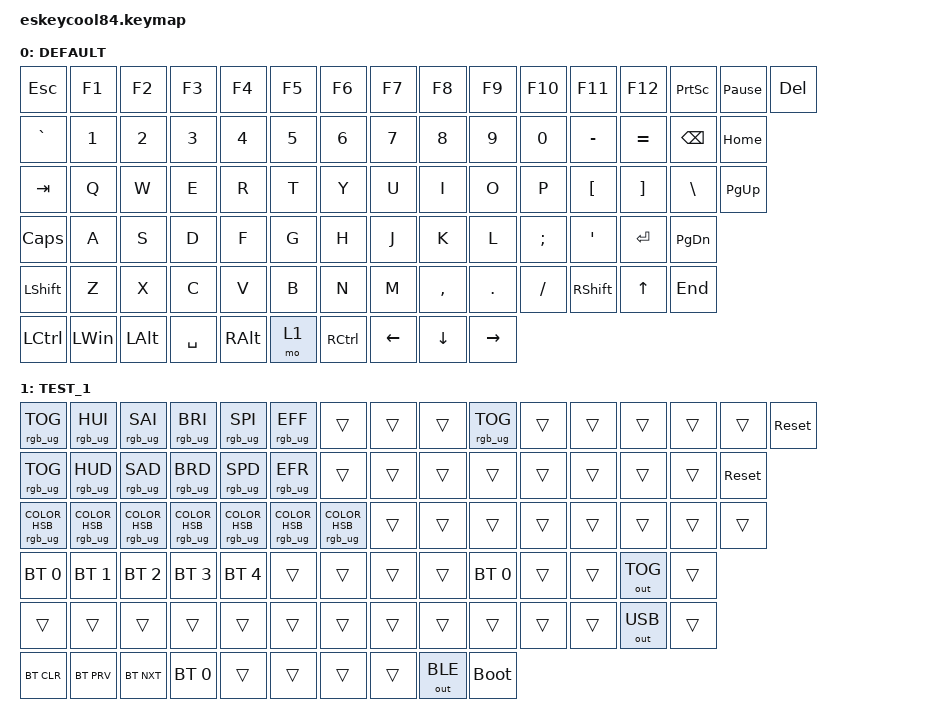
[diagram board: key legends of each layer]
/*
 * Copyright (c) 2020 The ZMK Contributors
 *
 * SPDX-License-Identifier: MIT
 */

#define DEFAULT  0

#include <behaviors.dtsi>
#include <dt-bindings/zmk/bt.h>
#include <dt-bindings/zmk/keys.h>
#include <dt-bindings/zmk/outputs.h>
#include <dt-bindings/zmk/rgb.h>

/ {
    behaviors {
        hm: homerow_mods {
            compatible = "zmk,behavior-hold-tap";
            label = "HOMEROW_MODS";
            #binding-cells = <2>;
            tapping-term-ms = <150>;
            quick-tap-ms = <0>;
            flavor = "tap-preferred";
            bindings = <&kp>, <&kp>;
        };
    };

    keymap {
        compatible = "zmk,keymap";

        DEFAULT {
            label = "DEFAULT";
            bindings = <
&kp ESC         &kp F1        &kp F2        &kp F3        &kp F4         &kp F5        &kp F6        &kp F7        &kp F8        &kp F9        &kp F10        &kp F11           &kp F12            &kp PRINTSCREEN  &kp PAUSE_BREAK  &kp DELETE
&kp GRAVE       &kp NUMBER_1  &kp NUMBER_2  &kp NUMBER_3  &kp NUMBER_4   &kp NUMBER_5  &kp NUMBER_6  &kp NUMBER_7  &kp NUMBER_8  &kp NUMBER_9  &kp NUMBER_0   &kp MINUS         &kp EQUAL          &kp BACKSPACE    &kp HOME
&kp TAB         &kp Q         &kp W         &kp E         &kp R          &kp T         &kp Y         &kp U         &kp I         &kp O         &kp P          &kp LEFT_BRACKET  &kp RIGHT_BRACKET  &kp BACKSLASH    &kp PAGE_UP
&kp CAPS        &kp A         &kp S         &kp D         &kp F          &kp G         &kp H         &kp J         &kp K         &kp L         &kp SEMICOLON  &kp SINGLE_QUOTE  &kp ENTER          &kp PAGE_DOWN
&kp LEFT_SHIFT  &kp Z         &kp X         &kp C         &kp V          &kp B         &kp N         &kp M         &kp COMMA     &kp DOT       &kp SLASH      &kp RIGHT_SHIFT   &kp UP             &kp END
&kp LCTRL       &kp LEFT_WIN  &kp LEFT_ALT  &kp SPACE     &kp RIGHT_ALT  &mo 1         &kp RCTRL     &kp LEFT      &kp DOWN      &kp RIGHT
            >;
        };

        TEST_1 {
            bindings = <
&rgb_ug RGB_TOG                  &rgb_ug RGB_HUI                    &rgb_ug RGB_SAI                    &rgb_ug RGB_BRI                   &rgb_ug RGB_SPI                    &rgb_ug RGB_EFF                    &trans                            &trans  &trans        &rgb_ug RGB_TOG  &trans  &trans  &trans        &trans  &trans      &sys_reset
&rgb_ug RGB_TOG                  &rgb_ug RGB_HUD                    &rgb_ug RGB_SAD                    &rgb_ug RGB_BRD                   &rgb_ug RGB_SPD                    &rgb_ug RGB_EFR                    &trans                            &trans  &trans        &trans           &trans  &trans  &trans        &trans  &sys_reset
&rgb_ug RGB_COLOR_HSB(0,100,50)  &rgb_ug RGB_COLOR_HSB(120,100,50)  &rgb_ug RGB_COLOR_HSB(240,100,50)  &rgb_ug RGB_COLOR_HSB(60,100,50)  &rgb_ug RGB_COLOR_HSB(300,100,50)  &rgb_ug RGB_COLOR_HSB(180,100,50)  &rgb_ug RGB_COLOR_HSB(246,76,49)  &trans  &trans        &trans           &trans  &trans  &trans        &trans  &trans
&bt BT_SEL 0                     &bt BT_SEL 1                       &bt BT_SEL 2                       &bt BT_SEL 3                      &bt BT_SEL 4                       &trans                             &trans                            &trans  &trans        &bt BT_SEL 0     &trans  &trans  &out OUT_TOG  &trans
&trans                           &trans                             &trans                             &trans                            &trans                             &trans                             &trans                            &trans  &trans        &trans           &trans  &trans  &out OUT_USB  &trans
&bt BT_CLR                       &bt BT_PRV                         &bt BT_NXT                         &bt BT_SEL 0                      &trans                             &trans                             &trans                            &trans  &out OUT_BLE  &bootloader
            >;
        };
    };
};
